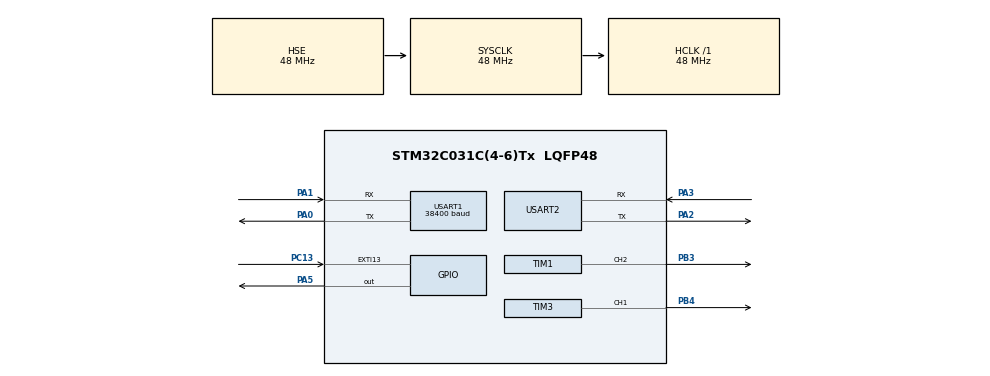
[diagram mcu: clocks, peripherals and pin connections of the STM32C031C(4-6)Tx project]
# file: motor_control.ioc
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Mcu.Family=STM32C0
Mcu.Name=STM32C031C(4-6)Tx
Mcu.Package=LQFP48
NUCLEO-C031C6.BUTTON=1
NUCLEO-C031C6.LD4=true
NUCLEO-C031C6.VCP=true
NVIC.EXTI4_15_IRQn=true\:0\:0\:false\:false\:true\:true\:true\:true
NVIC.TIM14_IRQn=true\:3\:0\:false\:false\:true\:false\:true\:true
NVIC.TimeBase=TIM14_IRQn
NVIC.TimeBaseIP=TIM14
NVIC.USART2_IRQn=true\:0\:0\:false\:false\:true\:true\:true\:true
PA0.Mode=Asynchronous
PA0.Signal=USART1_TX
PA1.Mode=Asynchronous
PA1.Signal=USART1_RX
PA13.GPIO_Label=DEBUG_SWDIO
PA13.Signal=DEBUG_SWDIO
PA14-BOOT0.GPIO_Label=DEBUG_SWCLK
PA14-BOOT0.Signal=DEBUG_SWCLK
PA2.Mode=Asynchronous
PA2.Signal=USART2_TX
PA3.Mode=Asynchronous
PA3.Signal=USART2_RX
PA5.Signal=GPIO_Output
PB3.Signal=S_TIM1_CH2
PB4.Signal=S_TIM3_CH1
PC13.Signal=GPXTI13
PC14-OSCX_IN\ (PC14).GPIO_Label=RCC_OSCX_IN
PC14-OSCX_IN\ (PC14).Mode=LSE-External-Oscillator
PC14-OSCX_IN\ (PC14).Signal=RCC_OSCX_IN
PC15-OSCX_OUT\ (PC15).GPIO_Label=RCC_OSCX_OUT
PC15-OSCX_OUT\ (PC15).Mode=LSE-External-Oscillator
PC15-OSCX_OUT\ (PC15).Signal=RCC_OSCX_OUT
PF0-OSC_IN\ (PF0).GPIO_Label=RCC_OSC_IN
PF0-OSC_IN\ (PF0).Mode=HSE-External-Oscillator
PF0-OSC_IN\ (PF0).Signal=RCC_OSC_IN
PF1-OSC_OUT\ (PF1).GPIO_Label=RCC_OSC_OUT
PF1-OSC_OUT\ (PF1).Mode=HSE-External-Oscillator
PF1-OSC_OUT\ (PF1).Signal=RCC_OSC_OUT
ProjectManager.HeapSize=0x200
ProjectManager.StackSize=0x400
ProjectManager.TargetToolchain=CMake
RCC.ADCFreq_Value=48000000
RCC.AHBFreq_Value=48000000
RCC.CortexFreq_Value=48000000
RCC.EXTERNAL_CLOCK_VALUE=12288000
RCC.HCLKFreq_Value=48000000
RCC.HSE_VALUE=48000000
RCC.HSISYSCLKDivider=RCC_HSI_DIV1
RCC.HSI_VALUE=48000000
RCC.SYSCLKFreq_VALUE=48000000
RCC.SYSCLKSource=RCC_SYSCLKSOURCE_HSE
SH.S_TIM1_CH2.0=TIM1_CH2,PWM Generation2 CH2
SH.S_TIM3_CH1.0=TIM3_CH1,Output Compare1 CH1
TIM1.Channel-PWM\ Generation2\ CH2=TIM_CHANNEL_2
TIM1.Period=11111
TIM1.Prescaler=47
TIM1.Pulse-PWM\ Generation2\ CH2=10
TIM3.AutoReloadPreload=TIM_AUTORELOAD_PRELOAD_DISABLE
TIM3.Channel-Output\ Compare1\ CH1=TIM_CHANNEL_1
TIM3.Period=65535
TIM3.Prescaler=0
USART1.BaudRate=38400
USART1.VirtualMode-Asynchronous=VM_ASYNC
USART2.VirtualMode-Asynchronous=VM_ASYNC
VP_NUCLEO-C031C6_VS_BSP_COMMON.Mode=COMMON
VP_SYS_VS_tim14.Mode=TIM14
board=NUCLEO-C031C6

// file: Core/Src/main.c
/* USER CODE BEGIN Header */
/**
  ******************************************************************************
  * @file           : main.c
  * @brief          : Main program body
  ******************************************************************************
  * @attention
  *
  * Copyright (c) 2026 STMicroelectronics.
  * All rights reserved.
  *
  * This software is licensed under terms that can be found in the LICENSE file
  * in the root directory of this software component.
  * If no LICENSE file comes with this software, it is provided AS-IS.
  *
  ******************************************************************************
  */
/* USER CODE END Header */
#include "main.h"

/* USER CODE BEGIN Includes */
#include <stdlib.h>
#include <mailbox.h>
#include <stdint.h>
#include <stdio.h>
#include <string.h>
#include "hw_uart.h"
#include "io_motor_com.h"
#include "app_motor_comm.h"
#include "robot_fsm.h"
/* USER CODE END Includes */

/* USER CODE BEGIN PD */
#define UART2_BAUD                115200 //Set Baud Rate for USB Communication (To Tablet or Computer)
#define UART3_BAUD                38400
//USE PIN PC4 ON CN10 FOR TX

/* USER CODE END PD */

COM_InitTypeDef BspCOMInit;

TIM_HandleTypeDef htim1;
TIM_HandleTypeDef htim3;

UART_HandleTypeDef huart1;
UART_HandleTypeDef huart2;

void SystemClock_Config(void);
static void MX_GPIO_Init(void);
static void MX_TIM3_Init(void);
static void MX_USART2_UART_Init(void);
static void MX_USART1_UART_Init(void);
static void MX_TIM1_Init(void);
/* USER CODE BEGIN PFP */

void start_uart2_rx(void);

/* USER CODE END PFP */

/* USER CODE BEGIN 0 */
int motorPower;

/* Shayan Variables*/

static mailbox_t traj_new_mail;
static uint8_t uart2_rx_buf[sizeof(float) * TARGET_MSG_FLOAT_COUNT];
static io_motor_com_t motor_com;
static uint8_t motor_input_buffer[IO_MOTOR_COM_INPUT_BUFFER_LEN];
static uint8_t motor_output_buffer[IO_MOTOR_COM_OUTPUT_BUFFER_LEN];
static robot_t robot;

float msg[TARGET_MSG_FLOAT_COUNT];
volatile uint8_t uart2_msg_ready = 0;

/* USER CODE END 0 */

int main(void)
{

  /* MCU Configuration--------------------------------------------------------*/

  /* Reset of all peripherals, Initializes the Flash interface and the Systick. */
  HAL_Init();

  /* Configure the system clock */
  SystemClock_Config();

  /* Initialize all configured peripherals */
  MX_GPIO_Init();
  MX_TIM3_Init();
  MX_USART2_UART_Init();
  MX_USART1_UART_Init();
  MX_TIM1_Init();
  /* USER CODE BEGIN 2 */
  motorPower = 1;
  io_motor_com_init(&motor_com, motor_input_buffer, sizeof(motor_input_buffer),
                    motor_output_buffer, sizeof(motor_output_buffer));

  mailbox_init(&traj_new_mail);
  delta_fsm_bind_io(&traj_new_mail, &motor_com);
  delta_fsm_init(&robot);

  start_uart2_rx();
  Turn_const_speed(&motor_com, ROBOT_MOTOR_1_ID, 0);
  Turn_const_speed(&motor_com, ROBOT_MOTOR_2_ID, 0);
  Turn_const_speed(&motor_com, ROBOT_MOTOR_3_ID, 0);
  Turn_const_speed(&motor_com, ROBOT_MOTOR_4_ID, 0);
  /* USER CODE END 2 */

  /* Initialize leds */
  BSP_LED_Init(LED_GREEN);

  /* Initialize USER push-button, will be used to trigger an interrupt each time it's pressed.*/
  BSP_PB_Init(BUTTON_USER, BUTTON_MODE_EXTI);

  /* Initialize COM1 port (115200, 8 bits (7-bit data + 1 stop bit), no parity */
  BspCOMInit.BaudRate   = 115200;
  BspCOMInit.WordLength = COM_WORDLENGTH_8B;
  BspCOMInit.StopBits   = COM_STOPBITS_1;
  BspCOMInit.Parity     = COM_PARITY_NONE;
  BspCOMInit.HwFlowCtl  = COM_HWCONTROL_NONE;
  if (BSP_COM_Init(COM1, &BspCOMInit) != BSP_ERROR_NONE)
  {
    Error_Handler();
  }

  /* Infinite loop */
  /* USER CODE BEGIN WHILE */
  HAL_TIM_PWM_Start(&htim1, TIM_CHANNEL_2);
  while (1)
  {
    delta_fsm(&robot);
    HAL_Delay(1);
  }
  /* USER CODE END 3 */
}

void SystemClock_Config(void)
{
  RCC_OscInitTypeDef RCC_OscInitStruct = {0};
  RCC_ClkInitTypeDef RCC_ClkInitStruct = {0};

  /** Initializes the RCC Oscillators according to the specified parameters
  * in the RCC_OscInitTypeDef structure.
  */
  RCC_OscInitStruct.OscillatorType = RCC_OSCILLATORTYPE_HSE;
  RCC_OscInitStruct.HSEState = RCC_HSE_ON;
  if (HAL_RCC_OscConfig(&RCC_OscInitStruct) != HAL_OK)
  {
    Error_Handler();
  }

  /** Initializes the CPU, AHB and APB buses clocks
  */
  RCC_ClkInitStruct.ClockType = RCC_CLOCKTYPE_HCLK|RCC_CLOCKTYPE_SYSCLK
                              |RCC_CLOCKTYPE_PCLK1;
  RCC_ClkInitStruct.SYSCLKSource = RCC_SYSCLKSOURCE_HSE;
  RCC_ClkInitStruct.SYSCLKDivider = RCC_SYSCLK_DIV1;
  RCC_ClkInitStruct.AHBCLKDivider = RCC_HCLK_DIV1;
  RCC_ClkInitStruct.APB1CLKDivider = RCC_APB1_DIV1;

  if (HAL_RCC_ClockConfig(&RCC_ClkInitStruct, FLASH_LATENCY_1) != HAL_OK)
  {
    Error_Handler();
  }
}

static void MX_TIM1_Init(void)
{

  TIM_MasterConfigTypeDef sMasterConfig = {0};
  TIM_OC_InitTypeDef sConfigOC = {0};
  TIM_BreakDeadTimeConfigTypeDef sBreakDeadTimeConfig = {0};

  htim1.Instance = TIM1;
  htim1.Init.Prescaler = 47;
  htim1.Init.CounterMode = TIM_COUNTERMODE_UP;
  htim1.Init.Period = 16666;
  htim1.Init.ClockDivision = TIM_CLOCKDIVISION_DIV1;
  htim1.Init.RepetitionCounter = 0;
  htim1.Init.AutoReloadPreload = TIM_AUTORELOAD_PRELOAD_DISABLE;
  if (HAL_TIM_PWM_Init(&htim1) != HAL_OK)
  {
    Error_Handler();
  }
  sMasterConfig.MasterOutputTrigger = TIM_TRGO_RESET;
  sMasterConfig.MasterOutputTrigger2 = TIM_TRGO2_RESET;
  sMasterConfig.MasterSlaveMode = TIM_MASTERSLAVEMODE_DISABLE;
  if (HAL_TIMEx_MasterConfigSynchronization(&htim1, &sMasterConfig) != HAL_OK)
  {
    Error_Handler();
  }
  sConfigOC.OCMode = TIM_OCMODE_PWM1;
  sConfigOC.Pulse = 10;
  sConfigOC.OCPolarity = TIM_OCPOLARITY_HIGH;
  sConfigOC.OCNPolarity = TIM_OCNPOLARITY_HIGH;
  sConfigOC.OCFastMode = TIM_OCFAST_DISABLE;
  sConfigOC.OCIdleState = TIM_OCIDLESTATE_RESET;
  sConfigOC.OCNIdleState = TIM_OCNIDLESTATE_RESET;
  if (HAL_TIM_PWM_ConfigChannel(&htim1, &sConfigOC, TIM_CHANNEL_2) != HAL_OK)
  {
    Error_Handler();
  }
  sBreakDeadTimeConfig.OffStateRunMode = TIM_OSSR_DISABLE;
  sBreakDeadTimeConfig.OffStateIDLEMode = TIM_OSSI_DISABLE;
  sBreakDeadTimeConfig.LockLevel = TIM_LOCKLEVEL_OFF;
  sBreakDeadTimeConfig.DeadTime = 0;
  sBreakDeadTimeConfig.BreakState = TIM_BREAK_DISABLE;
  sBreakDeadTimeConfig.BreakPolarity = TIM_BREAKPOLARITY_HIGH;
  sBreakDeadTimeConfig.BreakFilter = 0;
  sBreakDeadTimeConfig.BreakAFMode = TIM_BREAK_AFMODE_INPUT;
  sBreakDeadTimeConfig.Break2State = TIM_BREAK2_DISABLE;
  sBreakDeadTimeConfig.Break2Polarity = TIM_BREAK2POLARITY_HIGH;
  sBreakDeadTimeConfig.Break2Filter = 0;
  sBreakDeadTimeConfig.Break2AFMode = TIM_BREAK_AFMODE_INPUT;
  sBreakDeadTimeConfig.AutomaticOutput = TIM_AUTOMATICOUTPUT_DISABLE;
  if (HAL_TIMEx_ConfigBreakDeadTime(&htim1, &sBreakDeadTimeConfig) != HAL_OK)
  {
    Error_Handler();
  }
  HAL_TIM_MspPostInit(&htim1);

}

static void MX_TIM3_Init(void)
{

  TIM_MasterConfigTypeDef sMasterConfig = {0};
  TIM_OC_InitTypeDef sConfigOC = {0};

  htim3.Instance = TIM3;
  htim3.Init.Prescaler = 0;
  htim3.Init.CounterMode = TIM_COUNTERMODE_UP;
  htim3.Init.Period = 65535;
  htim3.Init.ClockDivision = TIM_CLOCKDIVISION_DIV1;
  htim3.Init.AutoReloadPreload = TIM_AUTORELOAD_PRELOAD_DISABLE;
  if (HAL_TIM_OC_Init(&htim3) != HAL_OK)
  {
    Error_Handler();
  }
  sMasterConfig.MasterOutputTrigger = TIM_TRGO_RESET;
  sMasterConfig.MasterSlaveMode = TIM_MASTERSLAVEMODE_DISABLE;
  if (HAL_TIMEx_MasterConfigSynchronization(&htim3, &sMasterConfig) != HAL_OK)
  {
    Error_Handler();
  }
  sConfigOC.OCMode = TIM_OCMODE_TIMING;
  sConfigOC.Pulse = 0;
  sConfigOC.OCPolarity = TIM_OCPOLARITY_HIGH;
  sConfigOC.OCFastMode = TIM_OCFAST_DISABLE;
  if (HAL_TIM_OC_ConfigChannel(&htim3, &sConfigOC, TIM_CHANNEL_1) != HAL_OK)
  {
    Error_Handler();
  }
  HAL_TIM_MspPostInit(&htim3);

}

static void MX_USART1_UART_Init(void)
{

  huart1.Instance = USART1;
  huart1.Init.BaudRate = 38400;
  huart1.Init.WordLength = UART_WORDLENGTH_8B;
  huart1.Init.StopBits = UART_STOPBITS_1;
  huart1.Init.Parity = UART_PARITY_NONE;
  huart1.Init.Mode = UART_MODE_TX_RX;
  huart1.Init.HwFlowCtl = UART_HWCONTROL_NONE;
  huart1.Init.OverSampling = UART_OVERSAMPLING_16;
  huart1.Init.OneBitSampling = UART_ONE_BIT_SAMPLE_DISABLE;
  huart1.Init.ClockPrescaler = UART_PRESCALER_DIV1;
  huart1.AdvancedInit.AdvFeatureInit = UART_ADVFEATURE_NO_INIT;
  if (HAL_UART_Init(&huart1) != HAL_OK)
  {
    Error_Handler();
  }
  if (HAL_UARTEx_SetTxFifoThreshold(&huart1, UART_TXFIFO_THRESHOLD_1_8) != HAL_OK)
  {
    Error_Handler();
  }
  if (HAL_UARTEx_SetRxFifoThreshold(&huart1, UART_RXFIFO_THRESHOLD_1_8) != HAL_OK)
  {
    Error_Handler();
  }
  if (HAL_UARTEx_DisableFifoMode(&huart1) != HAL_OK)
  {
    Error_Handler();
  }

}

static void MX_USART2_UART_Init(void)
{

  huart2.Instance = USART2;
  huart2.Init.BaudRate = 115200;
  huart2.Init.WordLength = UART_WORDLENGTH_8B;
  huart2.Init.StopBits = UART_STOPBITS_1;
  huart2.Init.Parity = UART_PARITY_NONE;
  huart2.Init.Mode = UART_MODE_TX_RX;
  huart2.Init.HwFlowCtl = UART_HWCONTROL_NONE;
  huart2.Init.OverSampling = UART_OVERSAMPLING_16;
  huart2.Init.OneBitSampling = UART_ONE_BIT_SAMPLE_DISABLE;
  huart2.Init.ClockPrescaler = UART_PRESCALER_DIV1;
  huart2.AdvancedInit.AdvFeatureInit = UART_ADVFEATURE_NO_INIT;
  if (HAL_UART_Init(&huart2) != HAL_OK)
  {
    Error_Handler();
  }

}

static void MX_GPIO_Init(void)
{
  GPIO_InitTypeDef GPIO_InitStruct = {0};

  /* GPIO Ports Clock Enable */
  __HAL_RCC_GPIOC_CLK_ENABLE();
  __HAL_RCC_GPIOF_CLK_ENABLE();
  __HAL_RCC_GPIOA_CLK_ENABLE();
  __HAL_RCC_GPIOB_CLK_ENABLE();

  /*Configure GPIO pin Output Level */
  HAL_GPIO_WritePin(GPIOA, GPIO_PIN_5, GPIO_PIN_RESET);

  /*Configure GPIO pin : PC13 */
  GPIO_InitStruct.Pin = GPIO_PIN_13;
  GPIO_InitStruct.Mode = GPIO_MODE_IT_RISING;
  GPIO_InitStruct.Pull = GPIO_NOPULL;
  HAL_GPIO_Init(GPIOC, &GPIO_InitStruct);

  /*Configure GPIO pin : PA5 */
  GPIO_InitStruct.Pin = GPIO_PIN_5;
  GPIO_InitStruct.Mode = GPIO_MODE_OUTPUT_PP;
  GPIO_InitStruct.Pull = GPIO_NOPULL;
  GPIO_InitStruct.Speed = GPIO_SPEED_FREQ_LOW;
  HAL_GPIO_Init(GPIOA, &GPIO_InitStruct);

}

/* USER CODE BEGIN 4 */

void start_uart2_rx(void)
{
  HAL_UART_Receive_IT(&huart2, uart2_rx_buf, sizeof(uart2_rx_buf));
}

void HAL_UART_RxCpltCallback(UART_HandleTypeDef *huart)
{
  if (huart->Instance == USART2) {
    // float msg[TARGET_MSG_FLOAT_COUNT];
    memcpy(msg, uart2_rx_buf, sizeof(msg));
    mailbox_mail_arrived(&traj_new_mail, msg, HAL_GetTick());
    HAL_UART_Receive_IT(&huart2, uart2_rx_buf, sizeof(uart2_rx_buf));

  }
}

/* USER CODE END 4 */

void HAL_TIM_PeriodElapsedCallback(TIM_HandleTypeDef *htim)
{
  if (htim->Instance == TIM14) {
    HAL_IncTick();
    delta_fsm_on_timer_tick();
  }
}

void Error_Handler(void)
{
  __disable_irq();
  while (1)
  {
  }
}
